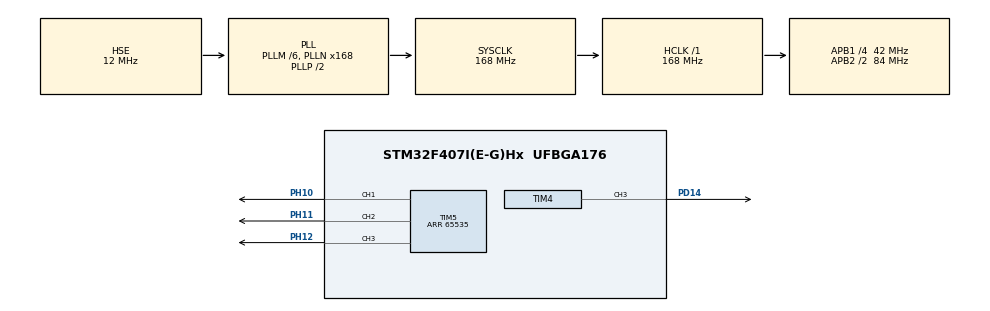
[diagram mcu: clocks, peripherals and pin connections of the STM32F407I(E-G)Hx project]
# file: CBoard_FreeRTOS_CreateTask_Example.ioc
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FREERTOS.Tasks01=defaultTask,24,128,StartDefaultTask,Default,NULL,Dynamic,NULL,NULL
Mcu.Family=STM32F4
Mcu.Name=STM32F407I(E-G)Hx
Mcu.Package=UFBGA176
NVIC.PriorityGroup=NVIC_PRIORITYGROUP_4
NVIC.TIM8_TRG_COM_TIM14_IRQn=true\:15\:0\:false\:false\:true\:false\:false\:true\:true
NVIC.TimeBase=TIM8_TRG_COM_TIM14_IRQn
NVIC.TimeBaseIP=TIM14
PA13.Mode=Serial_Wire
PA13.Signal=SYS_JTMS-SWDIO
PA14.Mode=Serial_Wire
PA14.Signal=SYS_JTCK-SWCLK
PD14.Signal=S_TIM4_CH3
PH0-OSC_IN.Mode=HSE-External-Oscillator
PH0-OSC_IN.Signal=RCC_OSC_IN
PH1-OSC_OUT.Mode=HSE-External-Oscillator
PH1-OSC_OUT.Signal=RCC_OSC_OUT
PH10.Signal=S_TIM5_CH1
PH11.Signal=S_TIM5_CH2
PH12.Signal=S_TIM5_CH3
ProjectManager.HeapSize=0x200
ProjectManager.StackSize=0x400
ProjectManager.TargetToolchain=MDK-ARM V5.32
RCC.48MHZClocksFreq_Value=84000000
RCC.AHBFreq_Value=168000000
RCC.APB1CLKDivider=RCC_HCLK_DIV4
RCC.APB1Freq_Value=42000000
RCC.APB1TimFreq_Value=84000000
RCC.APB2CLKDivider=RCC_HCLK_DIV2
RCC.APB2Freq_Value=84000000
RCC.APB2TimFreq_Value=168000000
RCC.CortexFreq_Value=168000000
RCC.HCLKFreq_Value=168000000
RCC.HSE_VALUE=12000000
RCC.HSI_VALUE=16000000
RCC.LSE_VALUE=32768
RCC.PLLM=6
RCC.PLLN=168
RCC.PLLSourceVirtual=RCC_PLLSOURCE_HSE
RCC.SYSCLKFreq_VALUE=168000000
RCC.SYSCLKSource=RCC_SYSCLKSOURCE_PLLCLK
RCC.VCOOutputFreq_Value=336000000
SH.S_TIM4_CH3.0=TIM4_CH3,PWM Generation3 CH3
SH.S_TIM5_CH1.0=TIM5_CH1,PWM Generation1 CH1
SH.S_TIM5_CH2.0=TIM5_CH2,PWM Generation2 CH2
SH.S_TIM5_CH3.0=TIM5_CH3,PWM Generation3 CH3
TIM4.Channel-PWM\ Generation3\ CH3=TIM_CHANNEL_3
TIM4.Period=20999
TIM5.Channel-PWM\ Generation1\ CH1=TIM_CHANNEL_1
TIM5.Channel-PWM\ Generation2\ CH2=TIM_CHANNEL_2
TIM5.Channel-PWM\ Generation3\ CH3=TIM_CHANNEL_3
TIM5.Period=65535
TIM5.Pulse-PWM\ Generation1\ CH1=10000
TIM5.Pulse-PWM\ Generation2\ CH2=10000
TIM5.Pulse-PWM\ Generation3\ CH3=10000
VP_FREERTOS_VS_CMSIS_V2.Mode=CMSIS_V2
VP_SYS_VS_tim14.Mode=TIM14
VP_TIM4_VS_ClockSourceINT.Mode=Internal
VP_TIM5_VS_ClockSourceINT.Mode=Internal
board=custom

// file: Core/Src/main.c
/* USER CODE BEGIN Header */
/**
  ******************************************************************************
  * @file           : main.c
  * @brief          : Main program body
  ******************************************************************************
  * @attention
  *
  * Copyright (c) 2024 STMicroelectronics.
  * All rights reserved.
  *
  * This software is licensed under terms that can be found in the LICENSE file
  * in the root directory of this software component.
  * If no LICENSE file comes with this software, it is provided AS-IS.
  *
  ******************************************************************************
  */
/* USER CODE END Header */
#include "main.h"
#include "cmsis_os.h"
#include "tim.h"
#include "gpio.h"

/* USER CODE BEGIN Includes */
#include "bsp_buzzer.h"
/* USER CODE END Includes */

void SystemClock_Config(void);
void MX_FREERTOS_Init(void);

int main(void)
{

  /* MCU Configuration--------------------------------------------------------*/

  /* Reset of all peripherals, Initializes the Flash interface and the Systick. */
  HAL_Init();

  /* Configure the system clock */
  SystemClock_Config();

  /* Initialize all configured peripherals */
  MX_GPIO_Init();
  MX_TIM5_Init();
  MX_TIM4_Init();
  /* USER CODE BEGIN 2 */
  buzzer_init();
  buzzer_on(0,1000);

  /* USER CODE END 2 */

  /* Init scheduler */
  osKernelInitialize();

  /* Call init function for freertos objects (in cmsis_os2.c) */
  MX_FREERTOS_Init();

  /* Start scheduler */
  osKernelStart();

  /* We should never get here as control is now taken by the scheduler */

  /* Infinite loop */
  while (1)
  {
//	buzzer_on(10,2000);
//	HAL_Delay(1000);
  }
}

void SystemClock_Config(void)
{
  RCC_OscInitTypeDef RCC_OscInitStruct = {0};
  RCC_ClkInitTypeDef RCC_ClkInitStruct = {0};

  /** Configure the main internal regulator output voltage
  */
  __HAL_RCC_PWR_CLK_ENABLE();
  __HAL_PWR_VOLTAGESCALING_CONFIG(PWR_REGULATOR_VOLTAGE_SCALE1);

  /** Initializes the RCC Oscillators according to the specified parameters
  * in the RCC_OscInitTypeDef structure.
  */
  RCC_OscInitStruct.OscillatorType = RCC_OSCILLATORTYPE_HSE;
  RCC_OscInitStruct.HSEState = RCC_HSE_ON;
  RCC_OscInitStruct.PLL.PLLState = RCC_PLL_ON;
  RCC_OscInitStruct.PLL.PLLSource = RCC_PLLSOURCE_HSE;
  RCC_OscInitStruct.PLL.PLLM = 6;
  RCC_OscInitStruct.PLL.PLLN = 168;
  RCC_OscInitStruct.PLL.PLLP = RCC_PLLP_DIV2;
  RCC_OscInitStruct.PLL.PLLQ = 4;
  if (HAL_RCC_OscConfig(&RCC_OscInitStruct) != HAL_OK)
  {
    Error_Handler();
  }

  /** Initializes the CPU, AHB and APB buses clocks
  */
  RCC_ClkInitStruct.ClockType = RCC_CLOCKTYPE_HCLK|RCC_CLOCKTYPE_SYSCLK
                              |RCC_CLOCKTYPE_PCLK1|RCC_CLOCKTYPE_PCLK2;
  RCC_ClkInitStruct.SYSCLKSource = RCC_SYSCLKSOURCE_PLLCLK;
  RCC_ClkInitStruct.AHBCLKDivider = RCC_SYSCLK_DIV1;
  RCC_ClkInitStruct.APB1CLKDivider = RCC_HCLK_DIV4;
  RCC_ClkInitStruct.APB2CLKDivider = RCC_HCLK_DIV2;

  if (HAL_RCC_ClockConfig(&RCC_ClkInitStruct, FLASH_LATENCY_5) != HAL_OK)
  {
    Error_Handler();
  }
}

void HAL_TIM_PeriodElapsedCallback(TIM_HandleTypeDef *htim)
{
  if (htim->Instance == TIM14) {
    HAL_IncTick();
  }
}

void Error_Handler(void)
{
  __disable_irq();
  while (1)
  {
  }
}

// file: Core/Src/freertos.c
/* USER CODE BEGIN Header */
/**
  ******************************************************************************
  * File Name          : freertos.c
  * Description        : Code for freertos applications
  ******************************************************************************
  * @attention
  *
  * Copyright (c) 2024 STMicroelectronics.
  * All rights reserved.
  *
  * This software is licensed under terms that can be found in the LICENSE file
  * in the root directory of this software component.
  * If no LICENSE file comes with this software, it is provided AS-IS.
  *
  ******************************************************************************
  */
/* USER CODE END Header */

#include "FreeRTOS.h"
#include "task.h"
#include "main.h"
#include "cmsis_os.h"

/* USER CODE BEGIN Includes */
#include "led_task.h"
#include "buzzer_task.h"
/* USER CODE END Includes */

/* Definitions for defaultTask */
osThreadId_t defaultTaskHandle;
const osThreadAttr_t defaultTask_attributes = {
  .name = "defaultTask",
  .stack_size = 128 * 4,
  .priority = (osPriority_t) osPriorityNormal,
};

void StartDefaultTask(void *argument);

void MX_FREERTOS_Init(void); /* (MISRA C 2004 rule 8.1) */

void MX_FREERTOS_Init(void) {

  /* Create the thread(s) */
  /* creation of defaultTask */
  defaultTaskHandle = osThreadNew(StartDefaultTask, NULL, &defaultTask_attributes);

  /* USER CODE BEGIN RTOS_THREADS */
  /* add threads, ... */
    xTaskCreate(
    vLED_Task,
    "led_task",
    128,
    NULL,
    osPriorityNormal,
    &led_taskHandle
  );
  xTaskCreate(
    vBuzzer_Task,
    "buzzer_task",
    128,
    NULL,
    osPriorityNormal,
    &buzzer_taskHandle
  );
  /* USER CODE END RTOS_THREADS */

}

void StartDefaultTask(void *argument)
{
  for(;;)
  {
    osDelay(1);
  }
}
